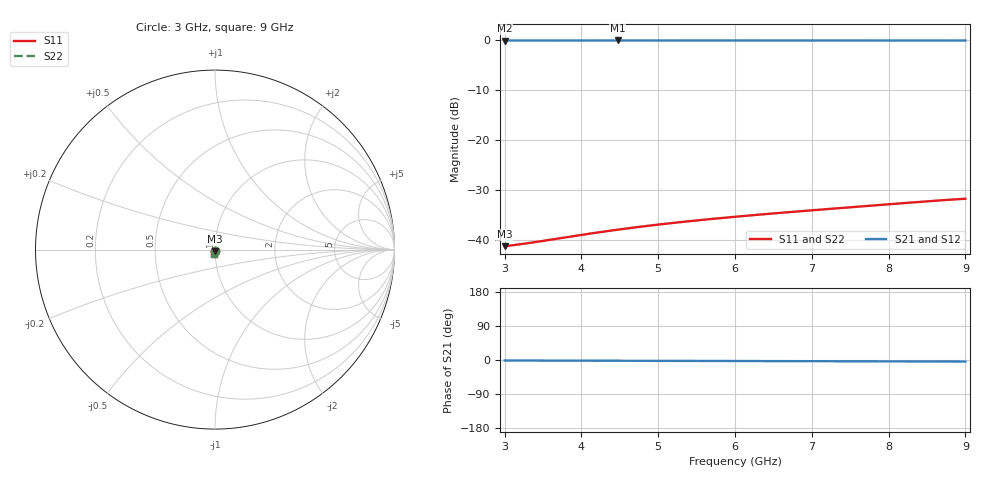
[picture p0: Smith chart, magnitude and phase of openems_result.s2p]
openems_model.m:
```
% Generated by textlayout; units are micrometres.
close all; clear; clc;
physical_constants;
unit = 1e-6;
f_start = 3000000000; f_stop = 9000000000;
FDTD = InitFDTD('EndCriteria', 1e-5);
FDTD = SetGaussExcite(FDTD, (f_start+f_stop)/2, (f_stop-f_start)/2);
FDTD = SetBoundaryCond(FDTD, {'PML_8','PML_8','PML_8','PML_8','PML_8','PML_8'});
CSX = InitCSX();
CSX = AddMaterial(CSX, 'substrate', 'Epsilon', 11.9);
CSX = AddBox(CSX, 'substrate', 0, [-200.983 -140 -500], [200.983 740 0]);
CSX = AddMetal(CSX, 'metal');
p0 = [-5 5 5 -5; 0 0 600 600];
CSX = AddPolygon(CSX, 'metal', 10, 'z', 0, p0);
p1 = [-60.983 -10.983 -10.983 -60.983; 0 0 600 600];
CSX = AddPolygon(CSX, 'metal', 10, 'z', 0, p1);
p2 = [10.983 60.983 60.983 10.983; 0 0 600 600];
CSX = AddPolygon(CSX, 'metal', 10, 'z', 0, p2);
mesh.x = SmoothMeshLines([-200.983 200.983], 20, 1.4);
mesh.y = SmoothMeshLines([-140 740], 20, 1.4);
mesh.z = SmoothMeshLines([-500 0 100], 20, 1.4);
CSX = DefineRectGrid(CSX, unit, mesh);
[CSX, port{1}] = AddCPWPort(CSX, 999, 1, 'metal', [-5 0 -500], [5 60 50], 5.983, 'y', [1 0 0], 'ExcitePort', true);
[CSX, port{2}] = AddCPWPort(CSX, 999, 2, 'metal', [-5 540 -500], [5 600 50], 5.983, 'y', [1 0 0]);
Sim_Path = 'openems_run'; Sim_CSX = 'model.xml';
[status, message] = rmdir(Sim_Path, 's'); mkdir(Sim_Path);
WriteOpenEMS(fullfile(Sim_Path, Sim_CSX), FDTD, CSX);
RunOpenEMS(Sim_Path, Sim_CSX);
freq = linspace(f_start, f_stop, 401);
port = calcPort(port, Sim_Path, freq);
s11 = port{1}.uf.ref ./ port{1}.uf.inc;
s21 = port{2}.uf.ref ./ port{1}.uf.inc;
fid = fopen('openems_result.s2p', 'w');
fprintf(fid, '# Hz S RI R 50\n');
for k=1:numel(freq)
  fprintf(fid, '%.12e %.12e %.12e %.12e %.12e %.12e %.12e %.12e %.12e\n', freq(k), real(s11(k)), imag(s11(k)), real(s21(k)), imag(s21(k)), real(s21(k)), imag(s21(k)), real(s11(k)), imag(s11(k)));
end
fclose(fid);
```
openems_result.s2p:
# Hz S RI R 50
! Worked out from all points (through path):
!   401 points, 3 GHz to 9 GHz, reference 50 ohm
!   highest |S21| = 0.00 dB at 4.47 GHz (marker M1); lowest = 0.0 dB at 3 GHz (marker M2)
!   lowest |S11| = -41.2 dB at 3 GHz (marker M3), VSWR 1.02, Z = 49.9 - j0.862 ohm
!   |S11| at or under -10 dB: start of sweep to end of sweep
!   |S22| runs from -41.2 to -31.7 dB; largest |S21 - S12| = 0
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3e9  -0.000769 -0.00864  0.9984 -0.0237  0.9984 -0.0237  -0.000769 -0.00864
3.3e9  -0.000638 -0.00926  0.9988 -0.0254  0.9988 -0.0254  -0.000638 -0.00926
4.05e9  -0.000472 -0.0114  0.9996 -0.0313  0.9996 -0.0313  -0.000472 -0.0114
4.47e9  -0.000545 -0.0127  0.9995 -0.0348  0.9995 -0.0348  -0.000545 -0.0127
4.815e9  -0.000663 -0.0137  0.9994 -0.0376  0.9994 -0.0376  -0.000663 -0.0137
5.19e9  -0.000821 -0.0148  0.9992 -0.0406  0.9992 -0.0406  -0.000821 -0.0148
6e9  -0.00118 -0.0171  0.9986 -0.0469  0.9986 -0.0469  -0.00118 -0.0171
6.69e9  -0.00144 -0.0189  0.9984 -0.052  0.9984 -0.052  -0.00144 -0.0189
7.74e9  -0.00178 -0.0219  0.9983 -0.0603  0.9983 -0.0603  -0.00178 -0.0219
8.595e9  -0.00235 -0.0246  0.9974 -0.0678  0.9974 -0.0678  -0.00235 -0.0246
9e9  -0.00295 -0.0257  0.9962 -0.071  0.9962 -0.071  -0.00295 -0.0257
